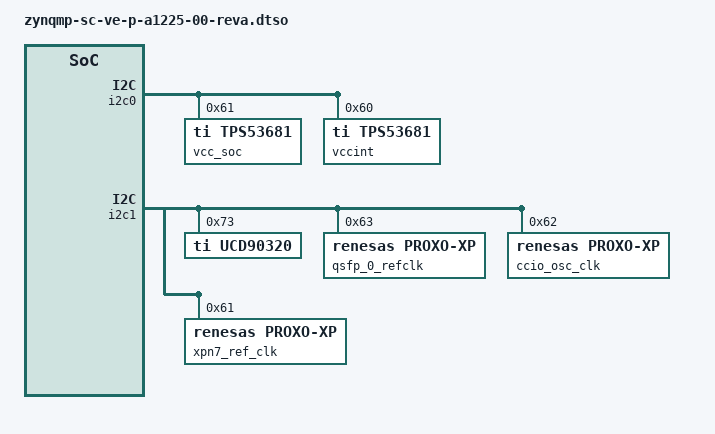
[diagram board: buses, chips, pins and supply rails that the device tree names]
// SPDX-License-Identifier: GPL-2.0
/*
 * dts file for AMD Versal Gen 2
 *
 * (C) Copyright 2025, Advanced Micro Devices, Inc.
 *
 * Michal Simek <michal.simek@amd.com>
 */

#include "include/dt-bindings/gpio/gpio.h"

/dts-v1/;
/plugin/;

&{/} {
	compatible = "xlnx,zynqmp-scm-ve-p-a1225-00-revA",
		     "xlnx,zynqmp-scm-ve-p-a1225-00", "xlnx,zynqmp";
	model = "ZynqMP SCM VE-P-A1225-00 revA";

	sys-clk-0 {
		status = "okay";
		compatible = "xlnx,fclk";
		clocks = <&qsfp_0_refclk>;
	};

	sys-clk-1 {
		status = "okay";
		compatible = "xlnx,fclk";
		clocks = <&ccio_osc_clk>;
	};

	sys-clk-2 {
		status = "okay";
		compatible = "xlnx,fclk";
		clocks = <&xpn7_ref_clk>;
	};
};

&i2c0 { /* I2C_SCK C30/C31 - MIO 66/67 */
	status = "okay";
	#address-cells = <1>;
	#size-cells = <0>;
	/* i2c_pmc */
	/* u24 - repeater from SC (J72 - disabling) */

	vcc_soc: tps53681@61 { /* u1881 */
		compatible = "ti,tps53681";
		reg = <0x61>;
	};

	/* u15/u14 - tca9517 (J55 - disabling) */
	/* ina226_pmbus - ina226 don't need to be described */

	/* u23/u33 - tca9517 (J10 - disabling) */
	/* pmbus to ext_pmus */
	/* TPS546A24A don't need to be described */
	vccint: tps53681@60 { /* u1870 */
		compatible = "ti,tps53681";
		reg = <0x60>;
	};
};

&i2c1 { /* I2C_SCK B36/B37 - MIO from 24/25 */
	#address-cells = <1>;
	#size-cells = <0>;
	/* u97 - m24128 16kB is defined in 'zynqmp-sc-k24-revA.dts' */

	/* ucd_pmbus u1906 - repeater from SC (J1950 - disabling) */
	ucd90320: power-sequencer@73 { /* u1768 */
		compatible = "ti,ucd90320";
		reg = <0x73>;
	};

	/* i2c_main u21 - repeater from SC (J79 - disabling) */
	/* i2c_main_1 u147 - ltc4316 - translator from SC (J157 - disabling) */
	qsfp_0_refclk: clock-generator@63 { /* u43 - origin addr 0x50 - 40MHz */
		#clock-cells = <0>;
		compatible = "renesas,proxo-xp";
		reg = <0x63>;
		clock-output-names = "qsfp_0_refclk";
	};

	/* i2c_main_2 u148 - ltc4316 - translator from SC (J122 - disabling) */
	ccio_osc_clk: clock-generator@62 { /* u115 - origin addr 0x50 - 200MHz */
		#clock-cells = <0>;
		compatible = "renesas,proxo-xp";
		reg = <0x62>;
		clock-output-names = "ccio_osc_clk";
	};

	/* i2c_main_4 u150 - ltc4316 - translator from SC (J146 - disabling) */
	xpn7_ref_clk: clock-generator@61 { /* u39 - origin addr 0x50 - 40MHz */
		#clock-cells = <0>;
		compatible = "renesas,proxo-xp";
		reg = <0x61>;
		clock-output-names = "xpn7_ref_clk";
	};


	/* u1910 - rc21005bq (OTP) i2c 0x9 selection via J1964/J1965/J1966 or UFS_CLK_SEL_X gpios */
	/* Also to SE card via D23/D24 Samtec */
};
